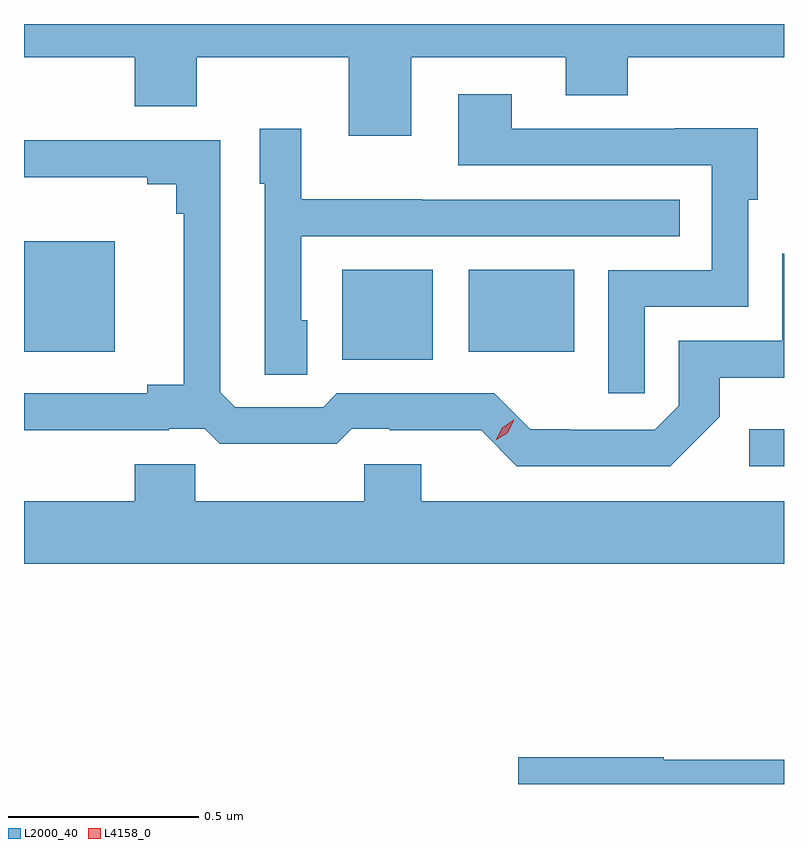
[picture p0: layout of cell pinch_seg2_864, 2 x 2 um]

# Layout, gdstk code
import gdstk
lib = gdstk.Library(unit=1e-6, precision=1e-09)
def R(c, l, rs):  # rectangles x0, y0, x1, y1
    for r in rs: c.add(gdstk.rectangle(r[:2], r[2:], *l))
def P(c, l, *ps):  # polygons
    for p in ps: c.add(gdstk.Polygon(p, *l))
L2000_40 = (2000, 40)
L4158_0 = (4158, 0)

pinch_seg2_864 = lib.new_cell('pinch_seg2_864')
R(pinch_seg2_864, L2000_40, [(767.787,586.62,767.878,586.717), (766.715,586.901,766.954,587.137), (765.878,586.922,766.117,587.212), (767.048,586.922,767.326,587.137)])
P(pinch_seg2_864, L2000_40, [(766.897,587.696),(767.303,587.696),(767.303,587.597),(767.467,587.597),(767.467,587.696),(767.878,587.696),(767.878,587.784),(765.878,587.784),(765.878,587.696),(766.169,587.696),(766.169,587.568),(766.333,587.568),(766.333,587.696),(766.733,587.696),(766.733,587.49),(766.897,587.49)],
  [(767.511,587.04),(767.784,587.04),(767.784,587.322),(767.809,587.322),(767.809,587.51),(767.591,587.51),(767.591,587.508),(767.161,587.508),(767.161,587.599),(767.021,587.599),(767.021,587.412),(767.688,587.412),(767.688,587.136),(767.415,587.136),(767.415,586.812),(767.511,586.812)],
  [(766.624,587.004),(766.608,587.004),(766.608,587.226),(767.603,587.226),(767.603,587.322),(766.925,587.322),(766.925,587.323),(766.608,587.323),(766.608,587.509),(766.499,587.509),(766.499,587.364),(766.512,587.364),(766.512,586.861),(766.624,586.861)],
  [(767.709,586.751),(767.709,586.853),(767.878,586.853),(767.878,587.179),(767.874,587.179),(767.874,586.95),(767.601,586.95),(767.601,586.779),(767.538,586.716),(767.314,586.716),(767.314,586.718),(767.21,586.718),(767.115,586.812),(766.701,586.812),(766.665,586.776),(766.434,586.776),(766.395,586.815),(766.395,587.478),(765.879,587.478),(765.879,587.381),(766.202,587.381),(766.202,587.362),(766.279,587.362),(766.279,587.285),(766.298,587.285),(766.298,586.835),(766.202,586.835),(766.202,586.812),(765.879,586.812),(765.879,586.715),(766.259,586.715),(766.259,586.719),(766.353,586.719),(766.393,586.68),(766.701,586.68),(766.74,586.719),(766.84,586.719),(766.84,586.715),(767.081,586.715),(767.175,586.62),(767.578,586.62)],
  [(767.878,586.528),(766.924,586.528),(766.924,586.626),(766.774,586.626),(766.774,586.528),(766.329,586.528),(766.329,586.626),(766.169,586.626),(766.169,586.528),(765.878,586.528),(765.878,586.364),(767.878,586.364)],
  [(767.878,585.848),(767.562,585.848),(767.562,585.854),(767.178,585.854),(767.178,585.784),(767.878,585.784)])
P(pinch_seg2_864, L4158_0, [(767.12,586.688),(767.12,586.689),(767.136,586.722),(767.167,586.743),(767.168,586.743),(767.168,586.742),(767.151,586.709),(767.12,586.688)])

lib.write_gds('pinch_seg2_864.gds')
